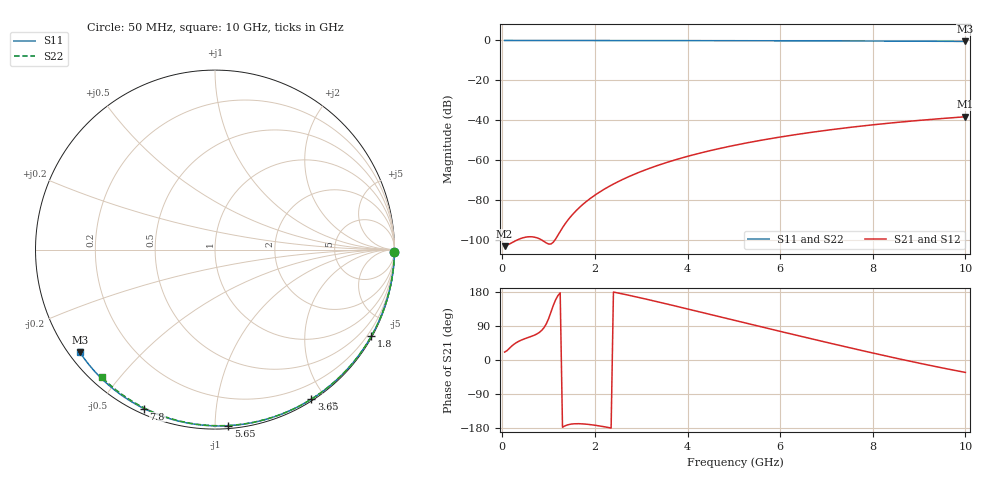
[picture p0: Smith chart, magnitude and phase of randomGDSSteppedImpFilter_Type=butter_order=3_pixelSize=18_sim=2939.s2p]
! freq	dB(S11)	phase(S11)	dB(S12)	phase(S12)
!  dB(S21)	phase(S21)	dB(S22)	phase(S22)
!S-par simulation data
#  GHz  S  DB  R 50
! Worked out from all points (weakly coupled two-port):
!   200 points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, 50 MHz to 10 GHz, reference 50 ohm
!   highest |S21| = -38.28 dB at 10 GHz (marker M1); lowest = -103.2 dB at 50 MHz (marker M2)
!   lowest |S11| = -0.5 dB at 10 GHz (marker M3), VSWR 35.79, Z = 1.56 - j16.9 ohm
!   |S11| at or under -10 dB: nowhere
!   |S22| runs from -0.4 to 0.0 dB; largest |S21 - S12| = 0
!   S11 on the Smith chart (normalised r, x): 50 MHz: open; 1.8 GHz: 0.03, -3.88; 3.65 GHz: 0.02, -1.83; 5.65 GHz: 0.02, -1.08; 7.8 GHz: 0.02, -0.65; 10 GHz: 0.03, -0.34
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0.05  -0.00 -0.8  -103.20 21.0  -103.20 21.0  -0.00 -0.8
0.45  -0.01 -7.3  -98.97 54.5  -98.97 54.5  -0.01 -6.8
0.9  -0.02 -14.6  -100.80 85.2  -100.80 85.2  -0.02 -13.6
1.75  -0.04 -28.1  -82.03 -168.7  -82.03 -168.7  -0.03 -26.2
1.8  -0.04 -28.9  -81.06 -169.2  -81.06 -169.2  -0.03 -27.0
1.85  -0.04 -29.7  -80.14 -169.8  -80.14 -169.8  -0.04 -27.7
2.15  -0.04 -34.4  -75.34 -175.1  -75.34 -175.1  -0.04 -32.1
2.35  -0.05 -37.5  -72.66 -179.5  -72.66 -179.5  -0.04 -35.0
2.55  -0.05 -40.6  -70.27 175.6  -70.27 175.6  -0.05 -37.9
2.95  -0.06 -46.7  -66.17 165.0  -66.17 165.0  -0.06 -43.6
3.4  -0.07 -53.5  -62.35 152.3  -62.35 152.3  -0.07 -49.9
3.65  -0.08 -57.2  -60.49 145.0  -60.49 145.0  -0.07 -53.4
4.3  -0.09 -66.7  -56.33 125.8  -56.33 125.8  -0.09 -62.3
5.05  -0.12 -77.4  -52.43 103.6  -52.43 103.6  -0.11 -72.3
5.65  -0.14 -85.7  -49.82 85.8  -49.82 85.8  -0.13 -80.0
6.15  -0.16 -92.4  -47.90 71.2  -47.90 71.2  -0.15 -86.3
6.7  -0.19 -99.8  -46.01 55.2  -46.01 55.2  -0.18 -93.1
7.25  -0.23 -107.0  -44.33 39.5  -44.33 39.5  -0.21 -99.8
7.8  -0.26 -114.1  -42.83 24.0  -42.83 24.0  -0.25 -106.3
8.35  -0.31 -121.1  -41.49 8.9  -41.49 8.9  -0.29 -112.7
9.2  -0.39 -132.1  -39.71 -13.4  -39.71 -13.4  -0.36 -122.5
10  -0.49 -142.7  -38.28 -32.8  -38.28 -32.8  -0.44 -131.5
